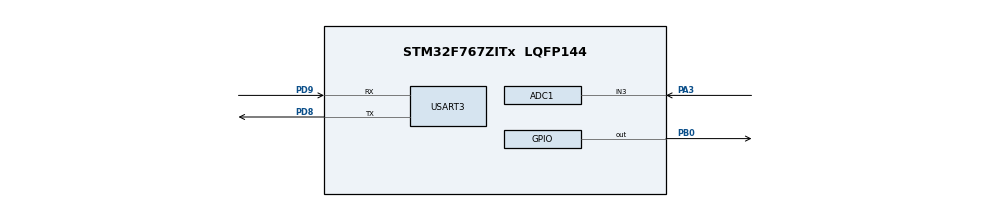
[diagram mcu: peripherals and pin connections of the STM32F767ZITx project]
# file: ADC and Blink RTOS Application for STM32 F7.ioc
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ADC1.Channel-0\#ChannelRegularConversion=ADC_CHANNEL_3
ADC1.NbrOfConversionFlag=1
ADC1.Rank-0\#ChannelRegularConversion=1
ADC1.SamplingTime-0\#ChannelRegularConversion=ADC_SAMPLETIME_3CYCLES
ADC1.master=1
CORTEX_M7.default_mode_Activation=1
FREERTOS.Tasks01=readADCTask,24,256,ReadADC,Default,NULL,Dynamic,NULL,NULL;blinkTask,32,256,Blink,Default,NULL,Dynamic,NULL,NULL
FREERTOS.configUSE_NEWLIB_REENTRANT=1
Mcu.Family=STM32F7
Mcu.Name=STM32F767ZITx
Mcu.Package=LQFP144
NVIC.PriorityGroup=NVIC_PRIORITYGROUP_4
NVIC.TIM6_DAC_IRQn=true\:15\:0\:false\:false\:true\:false\:false\:true\:true
NVIC.TimeBase=TIM6_DAC_IRQn
NVIC.TimeBaseIP=TIM6
PA3.Signal=ADCx_IN3
PB0.Signal=GPIO_Output
PD8.Mode=Asynchronous
PD8.Signal=USART3_TX
PD9.Mode=Asynchronous
PD9.Signal=USART3_RX
ProjectManager.HeapSize=0x200
ProjectManager.StackSize=0x400
ProjectManager.TargetToolchain=STM32CubeIDE
RCC.HSE_VALUE=25000000
RCC.HSI_VALUE=16000000
RCC.LSE_VALUE=32768
RCC.USBFreq_Value=96000000
RCC.VCOOutputFreq_Value=192000000
SH.ADCx_IN3.0=ADC1_IN3,IN3
USART3.VirtualMode-Asynchronous=VM_ASYNC
VP_FREERTOS_VS_CMSIS_V2.Mode=CMSIS_V2
VP_SYS_VS_tim6.Mode=TIM6
board=custom

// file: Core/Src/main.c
/* USER CODE BEGIN Header */
/**
  ******************************************************************************
  * @file           : main.c
  * @brief          : Main program body
  ******************************************************************************
  * @attention
  *
  * Copyright (c) 2025 STMicroelectronics.
  * All rights reserved.
  *
  * This software is licensed under terms that can be found in the LICENSE file
  * in the root directory of this software component.
  * If no LICENSE file comes with this software, it is provided AS-IS.
  *
  ******************************************************************************
  */
/* USER CODE END Header */
#include "main.h"
#include "cmsis_os.h"

/* USER CODE BEGIN Includes */
#include <stdio.h>

/* USER CODE END Includes */

/* USER CODE BEGIN PD */
#define ADC_RESOLUTION_COUNTS 4095.0f   // 12-bit ADC -> 0..4095
#define REFERENCE_VOLTAGE     3.300f    // VDDA (change if different)

/* USER CODE END PD */

ADC_HandleTypeDef hadc1;

UART_HandleTypeDef huart3;

/* Definitions for readADCTask */
osThreadId_t readADCTaskHandle;
const osThreadAttr_t readADCTask_attributes = {
  .name = "readADCTask",
  .stack_size = 256 * 4,
  .priority = (osPriority_t) osPriorityNormal,
};
/* Definitions for blinkTask */
osThreadId_t blinkTaskHandle;
const osThreadAttr_t blinkTask_attributes = {
  .name = "blinkTask",
  .stack_size = 256 * 4,
  .priority = (osPriority_t) osPriorityAboveNormal,
};
/* USER CODE BEGIN PV */
uint32_t ADCBuffer[100];
uint32_t ADCBufferIndex;
uint8_t OutputBuffer[1000];

/* USER CODE END PV */

void SystemClock_Config(void);
static void MPU_Config(void);
static void MX_GPIO_Init(void);
static void MX_ADC1_Init(void);
static void MX_USART3_UART_Init(void);
void ReadADC(void *argument);
void Blink(void *argument);

/* USER CODE BEGIN 0 */
void PrintOutputBuffer(uint8_t *OutputBuffer){
	int32_t StringLength;
	HAL_StatusTypeDef HALStatus;
	for(StringLength = 0; *(OutputBuffer+StringLength); StringLength++);
	HALStatus = HAL_UART_Transmit(&huart3, OutputBuffer, StringLength, HAL_MAX_DELAY);
	if(HALStatus != HAL_OK){
		Error_Handler();
	}
}

/* USER CODE END 0 */

int main(void)
{

  /* MPU Configuration--------------------------------------------------------*/
  MPU_Config();

  /* MCU Configuration--------------------------------------------------------*/

  /* Reset of all peripherals, Initializes the Flash interface and the Systick. */
  HAL_Init();

  /* Configure the system clock */
  SystemClock_Config();

  /* Initialize all configured peripherals */
  MX_GPIO_Init();
  MX_ADC1_Init();
  MX_USART3_UART_Init();

  /* Init scheduler */
  osKernelInitialize();

  /* Create the thread(s) */
  /* creation of readADCTask */
  readADCTaskHandle = osThreadNew(ReadADC, NULL, &readADCTask_attributes);

  /* creation of blinkTask */
  blinkTaskHandle = osThreadNew(Blink, NULL, &blinkTask_attributes);

  /* Start scheduler */
  osKernelStart();

  /* We should never get here as control is now taken by the scheduler */

  /* Infinite loop */
  while (1)
  {

  }
}

void SystemClock_Config(void)
{
  RCC_OscInitTypeDef RCC_OscInitStruct = {0};
  RCC_ClkInitTypeDef RCC_ClkInitStruct = {0};

  /** Configure the main internal regulator output voltage
  */
  __HAL_RCC_PWR_CLK_ENABLE();
  __HAL_PWR_VOLTAGESCALING_CONFIG(PWR_REGULATOR_VOLTAGE_SCALE3);

  /** Initializes the RCC Oscillators according to the specified parameters
  * in the RCC_OscInitTypeDef structure.
  */
  RCC_OscInitStruct.OscillatorType = RCC_OSCILLATORTYPE_HSI;
  RCC_OscInitStruct.HSIState = RCC_HSI_ON;
  RCC_OscInitStruct.HSICalibrationValue = RCC_HSICALIBRATION_DEFAULT;
  RCC_OscInitStruct.PLL.PLLState = RCC_PLL_NONE;
  if (HAL_RCC_OscConfig(&RCC_OscInitStruct) != HAL_OK)
  {
    Error_Handler();
  }

  /** Initializes the CPU, AHB and APB buses clocks
  */
  RCC_ClkInitStruct.ClockType = RCC_CLOCKTYPE_HCLK|RCC_CLOCKTYPE_SYSCLK
                              |RCC_CLOCKTYPE_PCLK1|RCC_CLOCKTYPE_PCLK2;
  RCC_ClkInitStruct.SYSCLKSource = RCC_SYSCLKSOURCE_HSI;
  RCC_ClkInitStruct.AHBCLKDivider = RCC_SYSCLK_DIV1;
  RCC_ClkInitStruct.APB1CLKDivider = RCC_HCLK_DIV1;
  RCC_ClkInitStruct.APB2CLKDivider = RCC_HCLK_DIV1;

  if (HAL_RCC_ClockConfig(&RCC_ClkInitStruct, FLASH_LATENCY_0) != HAL_OK)
  {
    Error_Handler();
  }
}

static void MX_ADC1_Init(void)
{

  ADC_ChannelConfTypeDef sConfig = {0};

  /** Configure the global features of the ADC (Clock, Resolution, Data Alignment and number of conversion)
  */
  hadc1.Instance = ADC1;
  hadc1.Init.ClockPrescaler = ADC_CLOCK_SYNC_PCLK_DIV2;
  hadc1.Init.Resolution = ADC_RESOLUTION_12B;
  hadc1.Init.ScanConvMode = ADC_SCAN_DISABLE;
  hadc1.Init.ContinuousConvMode = DISABLE;
  hadc1.Init.DiscontinuousConvMode = DISABLE;
  hadc1.Init.ExternalTrigConvEdge = ADC_EXTERNALTRIGCONVEDGE_NONE;
  hadc1.Init.ExternalTrigConv = ADC_SOFTWARE_START;
  hadc1.Init.DataAlign = ADC_DATAALIGN_RIGHT;
  hadc1.Init.NbrOfConversion = 1;
  hadc1.Init.DMAContinuousRequests = DISABLE;
  hadc1.Init.EOCSelection = ADC_EOC_SINGLE_CONV;
  if (HAL_ADC_Init(&hadc1) != HAL_OK)
  {
    Error_Handler();
  }

  /** Configure for the selected ADC regular channel its corresponding rank in the sequencer and its sample time.
  */
  sConfig.Channel = ADC_CHANNEL_3;
  sConfig.Rank = ADC_REGULAR_RANK_1;
  sConfig.SamplingTime = ADC_SAMPLETIME_3CYCLES;
  if (HAL_ADC_ConfigChannel(&hadc1, &sConfig) != HAL_OK)
  {
    Error_Handler();
  }

}

static void MX_USART3_UART_Init(void)
{

  huart3.Instance = USART3;
  huart3.Init.BaudRate = 115200;
  huart3.Init.WordLength = UART_WORDLENGTH_8B;
  huart3.Init.StopBits = UART_STOPBITS_1;
  huart3.Init.Parity = UART_PARITY_NONE;
  huart3.Init.Mode = UART_MODE_TX_RX;
  huart3.Init.HwFlowCtl = UART_HWCONTROL_NONE;
  huart3.Init.OverSampling = UART_OVERSAMPLING_16;
  huart3.Init.OneBitSampling = UART_ONE_BIT_SAMPLE_DISABLE;
  huart3.AdvancedInit.AdvFeatureInit = UART_ADVFEATURE_NO_INIT;
  if (HAL_UART_Init(&huart3) != HAL_OK)
  {
    Error_Handler();
  }

}

static void MX_GPIO_Init(void)
{
  GPIO_InitTypeDef GPIO_InitStruct = {0};

  /* GPIO Ports Clock Enable */
  __HAL_RCC_GPIOA_CLK_ENABLE();
  __HAL_RCC_GPIOB_CLK_ENABLE();
  __HAL_RCC_GPIOD_CLK_ENABLE();

  /*Configure GPIO pin Output Level */
  HAL_GPIO_WritePin(GPIOB, GPIO_PIN_0, GPIO_PIN_RESET);

  /*Configure GPIO pin : PB0 */
  GPIO_InitStruct.Pin = GPIO_PIN_0;
  GPIO_InitStruct.Mode = GPIO_MODE_OUTPUT_PP;
  GPIO_InitStruct.Pull = GPIO_NOPULL;
  GPIO_InitStruct.Speed = GPIO_SPEED_FREQ_LOW;
  HAL_GPIO_Init(GPIOB, &GPIO_InitStruct);

}

void ReadADC(void *argument)
{
  /* USER CODE BEGIN 5 */
  /* Infinite loop */
  for(;;)
  {
	HAL_ADC_Start(&hadc1);
	HAL_ADC_PollForConversion(&hadc1, HAL_MAX_DELAY);
	uint32_t ADC_Reading = HAL_ADC_GetValue(&hadc1);
	HAL_ADC_Stop(&hadc1);
	ADCBuffer[ADCBufferIndex] = ADC_Reading;
	float voltage = ((float)ADC_Reading / ADC_RESOLUTION_COUNTS) * REFERENCE_VOLTAGE;
	ADCBufferIndex++;
	sprintf((char *) OutputBuffer, "ADC_Sample = %f\r\n",voltage);
	PrintOutputBuffer(OutputBuffer);
    osDelay(100);
  }
  /* USER CODE END 5 */
}

void Blink(void *argument)
{
  /* USER CODE BEGIN Blink */
  /* Infinite loop */
  for(;;)
  {
	HAL_GPIO_TogglePin(GPIOB, GPIO_PIN_0);
    osDelay(100);
  }
  /* USER CODE END Blink */
}

 /* MPU Configuration */

void MPU_Config(void)
{
  MPU_Region_InitTypeDef MPU_InitStruct = {0};

  /* Disables the MPU */
  HAL_MPU_Disable();

  /** Initializes and configures the Region and the memory to be protected
  */
  MPU_InitStruct.Enable = MPU_REGION_ENABLE;
  MPU_InitStruct.Number = MPU_REGION_NUMBER0;
  MPU_InitStruct.BaseAddress = 0x0;
  MPU_InitStruct.Size = MPU_REGION_SIZE_4GB;
  MPU_InitStruct.SubRegionDisable = 0x87;
  MPU_InitStruct.TypeExtField = MPU_TEX_LEVEL0;
  MPU_InitStruct.AccessPermission = MPU_REGION_NO_ACCESS;
  MPU_InitStruct.DisableExec = MPU_INSTRUCTION_ACCESS_DISABLE;
  MPU_InitStruct.IsShareable = MPU_ACCESS_SHAREABLE;
  MPU_InitStruct.IsCacheable = MPU_ACCESS_NOT_CACHEABLE;
  MPU_InitStruct.IsBufferable = MPU_ACCESS_NOT_BUFFERABLE;

  HAL_MPU_ConfigRegion(&MPU_InitStruct);
  /* Enables the MPU */
  HAL_MPU_Enable(MPU_PRIVILEGED_DEFAULT);

}

void HAL_TIM_PeriodElapsedCallback(TIM_HandleTypeDef *htim)
{
  if (htim->Instance == TIM6)
  {
    HAL_IncTick();
  }
}

void Error_Handler(void)
{
  __disable_irq();
  while (1)
  {
  }
}
